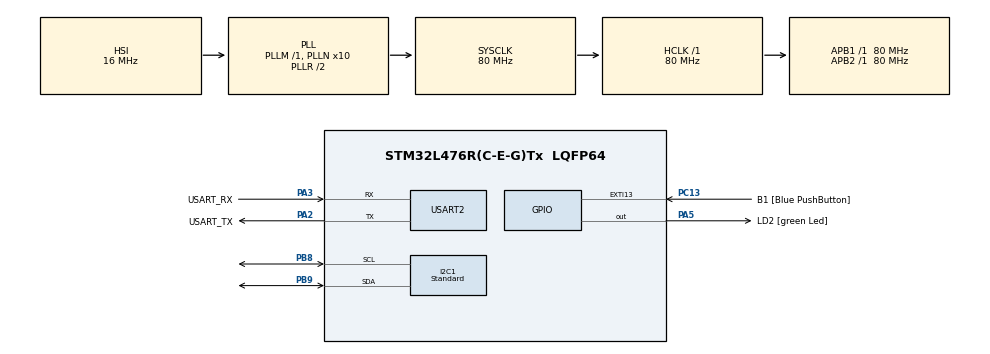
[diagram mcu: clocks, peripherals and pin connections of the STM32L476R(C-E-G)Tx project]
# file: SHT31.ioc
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I2C1.I2C_Speed_Mode=I2C_Standard
I2C1.Timing=0x10909CEC
Mcu.Family=STM32L4
Mcu.Name=STM32L476R(C-E-G)Tx
Mcu.Package=LQFP64
NVIC.PriorityGroup=NVIC_PRIORITYGROUP_4
PA13\ (JTMS-SWDIO).GPIO_Label=TMS
PA13\ (JTMS-SWDIO).Mode=Serial_Wire
PA13\ (JTMS-SWDIO).Signal=SYS_JTMS-SWDIO
PA14\ (JTCK-SWCLK).GPIO_Label=TCK
PA14\ (JTCK-SWCLK).Mode=Serial_Wire
PA14\ (JTCK-SWCLK).Signal=SYS_JTCK-SWCLK
PA2.GPIO_Label=USART_TX
PA2.GPIO_Mode=GPIO_MODE_AF_PP
PA2.GPIO_PuPd=GPIO_NOPULL
PA2.GPIO_Speed=GPIO_SPEED_FREQ_VERY_HIGH
PA2.Mode=Asynchronous
PA2.Signal=USART2_TX
PA3.GPIO_Label=USART_RX
PA3.GPIO_Mode=GPIO_MODE_AF_PP
PA3.GPIO_PuPd=GPIO_NOPULL
PA3.GPIO_Speed=GPIO_SPEED_FREQ_VERY_HIGH
PA3.Mode=Asynchronous
PA3.Signal=USART2_RX
PA5.GPIO_Label=LD2 [green Led]
PA5.GPIO_ModeDefaultOutputPP=GPIO_MODE_OUTPUT_PP
PA5.GPIO_PuPd=GPIO_NOPULL
PA5.GPIO_Speed=GPIO_SPEED_FREQ_LOW
PA5.Signal=GPIO_Output
PB3\ (JTDO-TRACESWO).GPIO_Label=SWO
PB3\ (JTDO-TRACESWO).Signal=SYS_JTDO-SWO
PB8.Mode=I2C
PB8.Signal=I2C1_SCL
PB9.Mode=I2C
PB9.Signal=I2C1_SDA
PC13.GPIO_Label=B1 [Blue PushButton]
PC13.GPIO_ModeDefaultEXTI=GPIO_MODE_IT_FALLING
PC13.GPIO_PuPd=GPIO_NOPULL
PC13.Signal=GPXTI13
PC14-OSC32_IN\ (PC14).Mode=LSE-External-Oscillator
PC14-OSC32_IN\ (PC14).Signal=RCC_OSC32_IN
PC15-OSC32_OUT\ (PC15).Mode=LSE-External-Oscillator
PC15-OSC32_OUT\ (PC15).Signal=RCC_OSC32_OUT
PH0-OSC_IN\ (PH0).Signal=RCC_OSC_IN
PH1-OSC_OUT\ (PH1).Signal=RCC_OSC_OUT
ProjectManager.HeapSize=0x200
ProjectManager.StackSize=0x400
ProjectManager.TargetToolchain=STM32CubeIDE
RCC.ADCFreq_Value=64000000
RCC.AHBFreq_Value=80000000
RCC.APB1Freq_Value=80000000
RCC.APB1TimFreq_Value=80000000
RCC.APB2Freq_Value=80000000
RCC.APB2TimFreq_Value=80000000
RCC.CortexFreq_Value=80000000
RCC.HCLKFreq_Value=80000000
RCC.HSE_VALUE=8000000
RCC.HSI_VALUE=16000000
RCC.MSI_VALUE=4000000
RCC.PLLN=10
RCC.PLLSourceVirtual=RCC_PLLSOURCE_HSI
RCC.PREFETCH_ENABLE=1
RCC.SYSCLKFreq_VALUE=80000000
RCC.SYSCLKSource=RCC_SYSCLKSOURCE_PLLCLK
RCC.USBFreq_Value=64000000
RCC.VCOOutputFreq_Value=160000000
USART2.VirtualMode-Asynchronous=VM_ASYNC
board=NUCLEO-L476RG

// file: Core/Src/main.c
/* USER CODE BEGIN Header */
/**
  ******************************************************************************
  * @file           : main.c
  * @brief          : Main program body
  ******************************************************************************
  * @attention
  *
  * Copyright (c) 2024 STMicroelectronics.
  * All rights reserved.
  *
  * This software is licensed under terms that can be found in the LICENSE file
  * in the root directory of this software component.
  * If no LICENSE file comes with this software, it is provided AS-IS.
  *
  ******************************************************************************
  */
/* USER CODE END Header */
#include "main.h"
#include "i2c.h"
#include "usart.h"
#include "gpio.h"

/* USER CODE BEGIN Includes */
#include "lib_lcd.h"
#include "SHT31.h"
#include <stdio.h>
/* USER CODE END Includes */

/* USER CODE BEGIN PTD */
rgb_lcd lcd_display;
/* USER CODE END PTD */

void SystemClock_Config(void);

/* USER CODE BEGIN 0 */
char Temperature[20];
char Humidity[20];
/* USER CODE END 0 */

int main(void)
{

  /* MCU Configuration--------------------------------------------------------*/

  /* Reset of all peripherals, Initializes the Flash interface and the Systick. */
  HAL_Init();

  /* Configure the system clock */
  SystemClock_Config();

  /* Initialize all configured peripherals */
  MX_GPIO_Init();
  MX_USART2_UART_Init();
  MX_I2C1_Init();
  /* USER CODE BEGIN 2 */
  sht3x_handle_t handle = {
      .i2c_handle = &hi2c1,
      .device_address = SHT3X_I2C_DEVICE_ADDRESS_ADDR_PIN_LOW
  };

  lcd_init(&hi2c1,&lcd_display);
  lcd_position(&hi2c1,0, 0);
  lcd_print(&hi2c1, "SHT31");
  clearlcd();
  /* USER CODE END 2 */

  /* Infinite loop */
  while (1)
  {

    /* USER CODE BEGIN 3 */
	  if (!sht3x_init(&handle)) {
		  //lcd_position(&hi2c1,0, 0);
		  //lcd_print(&hi2c1, "ERROR");
		  return 0;
	  }

	  // Read temperature and humidity.
	  float temperature, humidity;
	  sht3x_read_temperature_and_humidity(&handle, &temperature, &humidity);
	  snprintf(Temperature, sizeof(Temperature), "%.1f", temperature);
	  snprintf(Humidity, sizeof(Temperature), "%.1f", humidity);
	  lcd_position(&hi2c1, 0, 0);
	  lcd_print(&hi2c1, "Temp = ");
	  lcd_print(&hi2c1, Temperature);
	  lcd_print(&hi2c1, " C");
	  lcd_position(&hi2c1, 0, 1);
	  lcd_print(&hi2c1, "Hum = ");
	  lcd_print(&hi2c1, Humidity);
	  lcd_print(&hi2c1, " %");
	  /*HAL_UART_Transmit(&huart2, (uint8_t*)"Temperature = ", 14, 1000);
	  HAL_UART_Transmit(&huart2, (uint8_t*)Temperature, sizeof(Temperature), 1000);
	  HAL_UART_Transmit(&huart2, (uint8_t*)" °C", 4, 1000);
	  HAL_UART_Transmit(&huart2, (uint8_t*)"\n",1, 1000);
	  HAL_UART_Transmit(&huart2, (uint8_t*)"Humidite = ", 11, 1000);
	  HAL_UART_Transmit(&huart2, (uint8_t*)Humidity, sizeof(Humidity), 1000);
  	  HAL_UART_Transmit(&huart2, (uint8_t*)" %", 2, 1000);
	  HAL_UART_Transmit(&huart2, (uint8_t*)"\n",1, 1000);*/
	  HAL_Delay(100);
  }
  /* USER CODE END 3 */
}

void SystemClock_Config(void)
{
  RCC_OscInitTypeDef RCC_OscInitStruct = {0};
  RCC_ClkInitTypeDef RCC_ClkInitStruct = {0};

  /** Configure the main internal regulator output voltage
  */
  if (HAL_PWREx_ControlVoltageScaling(PWR_REGULATOR_VOLTAGE_SCALE1) != HAL_OK)
  {
    Error_Handler();
  }

  /** Initializes the RCC Oscillators according to the specified parameters
  * in the RCC_OscInitTypeDef structure.
  */
  RCC_OscInitStruct.OscillatorType = RCC_OSCILLATORTYPE_HSI;
  RCC_OscInitStruct.HSIState = RCC_HSI_ON;
  RCC_OscInitStruct.HSICalibrationValue = RCC_HSICALIBRATION_DEFAULT;
  RCC_OscInitStruct.PLL.PLLState = RCC_PLL_ON;
  RCC_OscInitStruct.PLL.PLLSource = RCC_PLLSOURCE_HSI;
  RCC_OscInitStruct.PLL.PLLM = 1;
  RCC_OscInitStruct.PLL.PLLN = 10;
  RCC_OscInitStruct.PLL.PLLP = RCC_PLLP_DIV7;
  RCC_OscInitStruct.PLL.PLLQ = RCC_PLLQ_DIV2;
  RCC_OscInitStruct.PLL.PLLR = RCC_PLLR_DIV2;
  if (HAL_RCC_OscConfig(&RCC_OscInitStruct) != HAL_OK)
  {
    Error_Handler();
  }

  /** Initializes the CPU, AHB and APB buses clocks
  */
  RCC_ClkInitStruct.ClockType = RCC_CLOCKTYPE_HCLK|RCC_CLOCKTYPE_SYSCLK
                              |RCC_CLOCKTYPE_PCLK1|RCC_CLOCKTYPE_PCLK2;
  RCC_ClkInitStruct.SYSCLKSource = RCC_SYSCLKSOURCE_PLLCLK;
  RCC_ClkInitStruct.AHBCLKDivider = RCC_SYSCLK_DIV1;
  RCC_ClkInitStruct.APB1CLKDivider = RCC_HCLK_DIV1;
  RCC_ClkInitStruct.APB2CLKDivider = RCC_HCLK_DIV1;

  if (HAL_RCC_ClockConfig(&RCC_ClkInitStruct, FLASH_LATENCY_4) != HAL_OK)
  {
    Error_Handler();
  }
}

void Error_Handler(void)
{
  __disable_irq();
  while (1)
  {
  }
}
